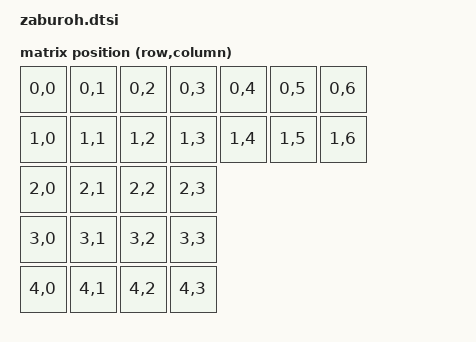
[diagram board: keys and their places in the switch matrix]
#include "zaburoh-layouts.dtsi"
#include <dt-bindings/zmk/matrix_transform.h>

/ {
    chosen {
        zmk,physical-layout = &default_layout;
    };

    default_transform: default_transform {
        compatible = "zmk,matrix-transform";
        columns = <7>;
        rows = <5>;

        map = <
            RC(0, 0) RC(0, 1) RC(0, 2) RC(0, 3)    RC(0, 4) RC(0, 5) RC(0, 6)   
            RC(1, 0) RC(1, 1) RC(1, 2) RC(1, 3)    RC(1, 4) RC(1, 5) RC(1, 6)
            RC(2, 0) RC(2, 1) RC(2, 2) RC(2, 3)
            RC(3, 0) RC(3, 1) RC(3, 2) RC(3, 3)
            RC(4, 0) RC(4, 1) RC(4, 2) RC(4, 3)
        >;
    };
};
